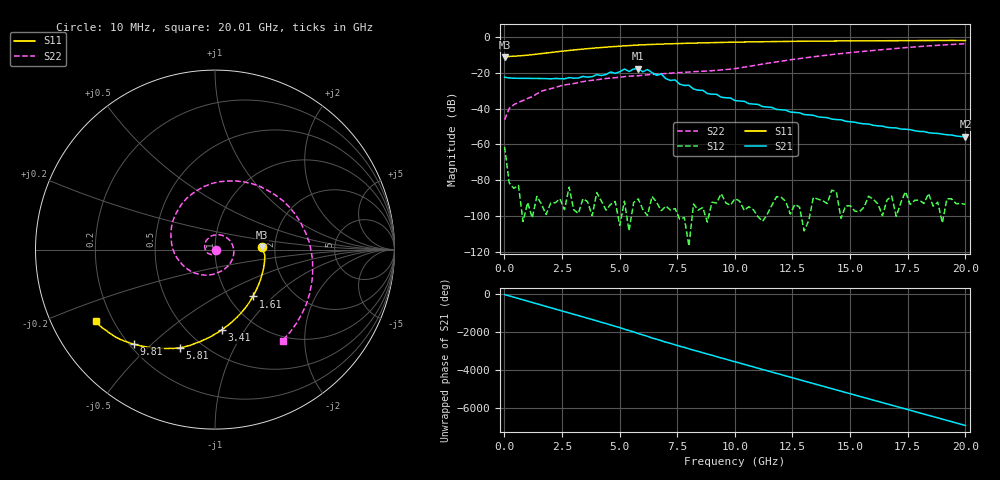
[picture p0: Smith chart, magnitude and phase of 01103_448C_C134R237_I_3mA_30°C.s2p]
!;Filter: kein Filter
!auto
!3/21/2019 9:27:07 AM
!3/21/2019 9:27:22 AM
!SP-Measurements Prober G4
!SP-Measurements Prober G4
!01103_448C
!134
!237
!12
!30
!-20
!0.00299959
!1.83
!0.38139174
!0.38139174
# Hz S  RI  R 50
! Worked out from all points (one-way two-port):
!   101 points, 10 MHz to 20.01 GHz, reference 50 ohm
!   highest |S21| = -17.82 dB at 5.81 GHz (marker M1); lowest = -55.6 dB at 20.01 GHz (marker M2)
!   lowest |S11| = -11.6 dB at 10 MHz (marker M3), VSWR 1.71, Z = 85.4 + j2.51 ohm
!   |S11| at or under -10 dB: start of sweep to 1.257 GHz
!   |S22| runs from -46.3 to -4.0 dB; largest |S21 - S12| = 0.13
!   S11 on the Smith chart (normalised r, x): 10 MHz: 1.71, +0.05; 1.61 GHz: 1.29, -0.76; 3.41 GHz: 0.71, -0.80; 5.81 GHz: 0.38, -0.63; 9.81 GHz: 0.22, -0.44; 20.01 GHz: 0.14, -0.27
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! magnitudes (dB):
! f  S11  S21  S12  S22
! 10 MHz  -11.6  -22.6  -61.4  -46.3
! 210 MHz  -11.1  -23.0  -81.3  -39.9
! 1.61 GHz  -9.5  -23.4  -93.2  -30.4
! 3.41 GHz  -7.0  -22.2  -90.2  -25.0
! 4.21 GHz  -6.1  -21.7  -91.5  -23.7
! 5.21 GHz  -5.2  -18.1  -91.6  -22.3
! 5.41 GHz  -5.0  -19.4  -108.0  -22.1
! 5.81 GHz  -4.7  -17.8  -90.2  -21.8
! 6.01 GHz  -4.6  -19.6  -96.1  -21.5
! 6.21 GHz  -4.5  -18.3  -99.5  -21.3
! 6.61 GHz  -4.3  -21.6  -92.2  -20.9
! 6.81 GHz  -4.2  -20.8  -96.8  -20.8
! 7.01 GHz  -4.1  -23.4  -94.2  -20.5
! 7.41 GHz  -3.9  -24.1  -95.6  -20.2
! 7.61 GHz  -3.9  -26.5  -101.6  -20.0
! 8.01 GHz  -3.7  -27.1  -116.5  -19.7
! 8.21 GHz  -3.6  -29.2  -93.1  -19.5
! 9.81 GHz  -3.2  -34.2  -93.8  -18.1
! 10.01 GHz  -3.1  -35.6  -90.1  -17.8
! 13.41 GHz  -2.6  -43.8  -89.4  -11.3
! 16.81 GHz  -2.3  -50.7  -88.7  -6.8
! 20.01 GHz  -2.2  -55.6  -93.3  -4.0
